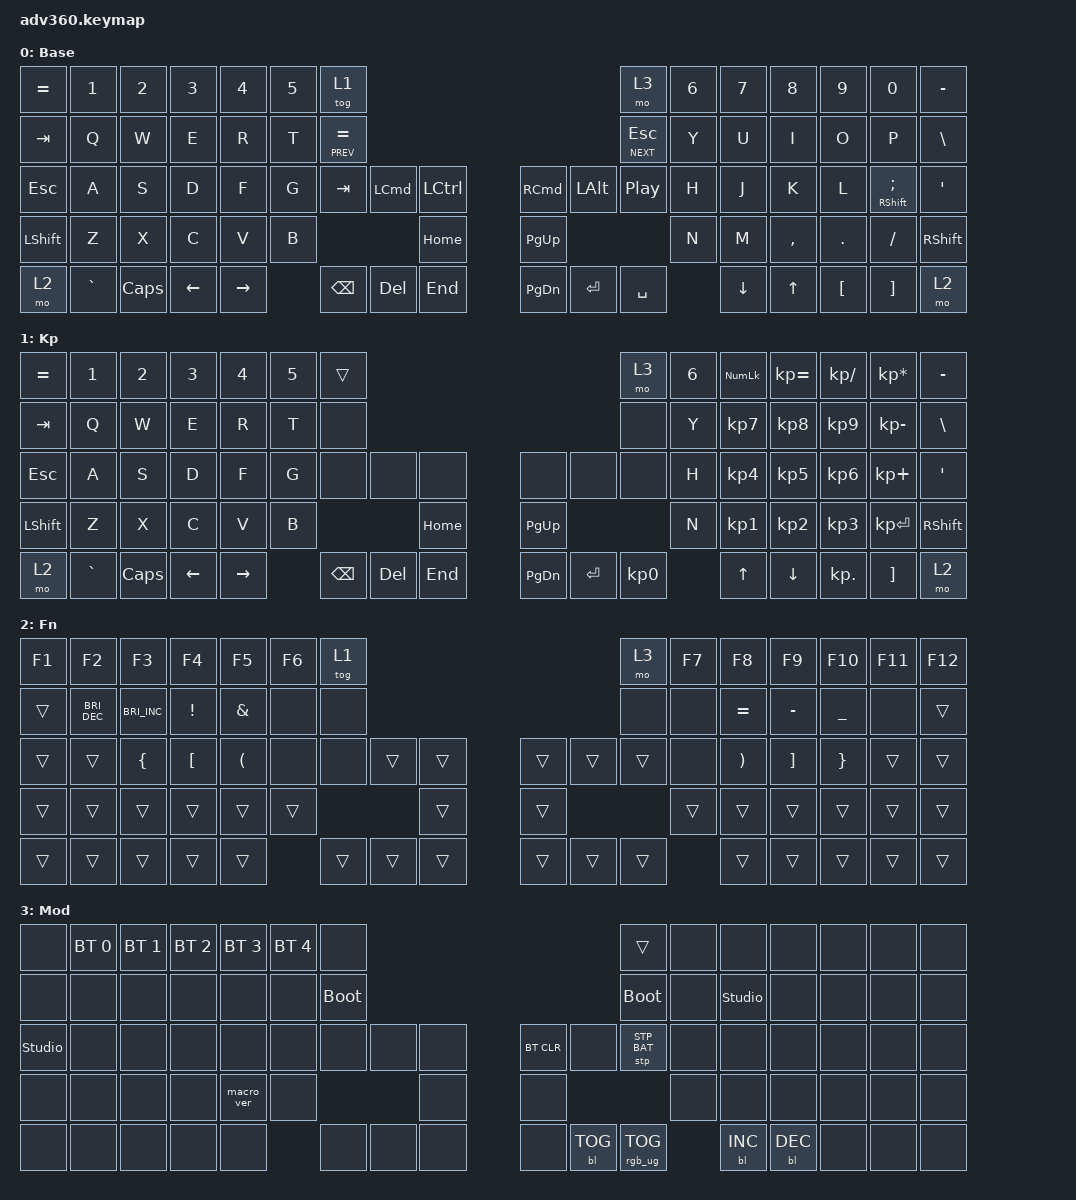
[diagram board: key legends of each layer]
#include <dt-bindings/zmk/stp.h>
#include <behaviors.dtsi>
#include <dt-bindings/zmk/backlight.h>
#include <dt-bindings/zmk/bt.h>
#include <dt-bindings/zmk/keys.h>
#include <dt-bindings/zmk/rgb.h>

/ {
    behaviors {
        #include "macros.dtsi"
      #include "version.dtsi"

        hm: homerow_mods {
            compatible = "zmk,behavior-hold-tap";
            label = "HOMEROW_MODS";
            #binding-cells = <2>;
            tapping-term-ms = <150>;
            quick_tap_ms = <100>;
            flavor = "balanced";
            bindings = <&kp>, <&kp>;

            quick-tap-ms = <100>;
            hold-trigger-on-release;
            hold-trigger-key-positions = <32 31 30 41 42 43 29 44>;
            require-prior-idle-ms = <50>;
        };
    };

    keymap {
        compatible = "zmk,keymap";

        default_layer {
            display-name = "Base";
            bindings = <
&kp EQUAL  &kp N1     &kp N2        &kp N3    &kp N4     &kp N5  &tog 1                                                                                     &mo 3             &kp N6  &kp N7    &kp N8        &kp N9    &kp N0                     &kp MINUS
&kp TAB    &kp Q      &kp W         &kp E     &kp R      &kp T   &hm C_PREV EQUAL                                                                           &hm C_NEXT ESC    &kp Y   &kp U     &kp I         &kp O     &kp P                      &kp BSLH
&kp ESC    &kp A      &kp S         &kp D     &kp F      &kp G   &kp TAB           &kp LEFT_COMMAND  &kp LEFT_CONTROL      &kp RIGHT_COMMAND  &kp LEFT_ALT  &kp C_PLAY_PAUSE  &kp H   &kp J     &kp K         &kp L     &hm RIGHT_SHIFT SEMICOLON  &kp SQT
&kp LSHFT  &kp Z      &kp X         &kp C     &kp V      &kp B                                       &kp HOME              &kp PG_UP                                          &kp N   &kp M     &kp COMMA     &kp DOT   &kp FSLH                   &kp RSHFT
&mo 2      &kp GRAVE  &kp CAPSLOCK  &kp LEFT  &kp RIGHT          &kp BSPC          &kp DEL           &kp END               &kp PG_DN          &kp ENTER     &kp SPACE                 &kp DOWN  &kp UP_ARROW  &kp LBKT  &kp RBKT                   &mo 2
            >;
        };

        keypad {
            display-name = "Kp";
            bindings = <
&kp EQUAL  &kp N1     &kp N2    &kp N3    &kp N4     &kp N5  &trans                                                 &mo 3      &kp N6  &kp KP_NUM  &kp KP_EQUAL  &kp KP_DIVIDE  &kp KP_MULTIPLY  &kp MINUS
&kp TAB    &kp Q      &kp W     &kp E     &kp R      &kp T   &none                                                  &none      &kp Y   &kp KP_N7   &kp KP_N8     &kp KP_N9      &kp KP_MINUS     &kp BSLH
&kp ESC    &kp A      &kp S     &kp D     &kp F      &kp G   &none     &none    &none         &none      &none      &none      &kp H   &kp KP_N4   &kp KP_N5     &kp KP_N6      &kp KP_PLUS      &kp SQT
&kp LSHFT  &kp Z      &kp X     &kp C     &kp V      &kp B                      &kp HOME      &kp PG_UP                        &kp N   &kp KP_N1   &kp KP_N2     &kp KP_N3      &kp KP_ENTER     &kp RSHFT
&mo 2      &kp GRAVE  &kp CAPS  &kp LEFT  &kp RIGHT          &kp BSPC  &kp DEL  &kp END       &kp PG_DN  &kp ENTER  &kp KP_N0          &kp UP      &kp DOWN      &kp KP_DOT     &kp RBKT         &mo 2
            >;
        };

        fn {
            display-name = "Fn";
            bindings = <
&kp F1  &kp F2                &kp F3                &kp F4    &kp F5                &kp F6  &tog 1                                      &mo 3   &kp F7  &kp F8                 &kp F9     &kp F10          &kp F11  &kp F12
&trans  &kp C_BRIGHTNESS_DEC  &kp C_BRIGHTNESS_INC  &kp EXCL  &kp AMPERSAND         &none   &none                                       &none   &none   &kp EQUAL              &kp MINUS  &kp UNDER        &none    &trans
&trans  &trans                &kp LEFT_BRACE        &kp LBKT  &kp LEFT_PARENTHESIS  &none   &none   &trans  &trans      &trans  &trans  &trans  &none   &kp RIGHT_PARENTHESIS  &kp RBKT   &kp RIGHT_BRACE  &trans   &trans
&trans  &trans                &trans                &trans    &trans                &trans                  &trans      &trans                  &trans  &trans                 &trans     &trans           &trans   &trans
&trans  &trans                &trans                &trans    &trans                        &trans  &trans  &trans      &trans  &trans  &trans          &trans                 &trans     &trans           &trans   &trans
            >;
        };

        mod {
            display-name = "Mod";
            bindings = <
&none           &bt BT_SEL 0  &bt BT_SEL 1  &bt BT_SEL 2  &bt BT_SEL 3  &bt BT_SEL 4  &none                                                  &trans           &none  &none           &none       &none  &none  &none
&none           &none         &none         &none         &none         &none         &bootloader                                            &bootloader      &none  &studio_unlock  &none       &none  &none  &none
&studio_unlock  &none         &none         &none         &none         &none         &none        &none  &none      &bt BT_CLR  &none       &stp STP_BAT     &none  &none           &none       &none  &none  &none
&none           &none         &none         &none         &macro_ver    &none                             &none      &none                                    &none  &none           &none       &none  &none  &none
&none           &none         &none         &none         &none                       &none        &none  &none      &none       &bl BL_TOG  &rgb_ug RGB_TOG         &bl BL_INC      &bl BL_DEC  &none  &none  &none
            >;
        };
    };
};
